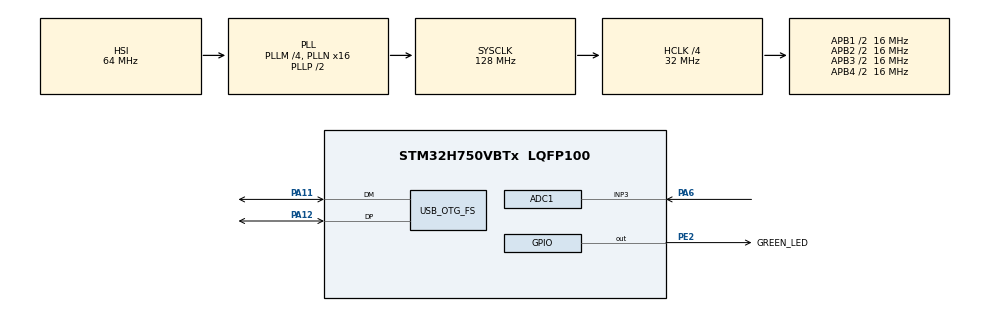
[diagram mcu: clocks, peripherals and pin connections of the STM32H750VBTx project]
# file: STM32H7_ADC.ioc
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ADC1.Channel-0\#ChannelRegularConversion=ADC_CHANNEL_3
ADC1.ClockPrescaler=ADC_CLOCK_ASYNC_DIV2
ADC1.ConversionDataManagement=ADC_CONVERSIONDATA_DMA_CIRCULAR
ADC1.ExternalTrigConv=ADC_EXTERNALTRIG_T8_TRGO
ADC1.ExternalTrigConvEdge=ADC_EXTERNALTRIGCONVEDGE_RISING
ADC1.NbrOfConversion=1
ADC1.NbrOfConversionFlag=1
ADC1.OffsetNumber-0\#ChannelRegularConversion=ADC_OFFSET_NONE
ADC1.OffsetSignedSaturation-0\#ChannelRegularConversion=DISABLE
ADC1.Rank-0\#ChannelRegularConversion=1
ADC1.SamplingTime-0\#ChannelRegularConversion=ADC_SAMPLETIME_1CYCLE_5
ADC1.master=1
Dma.ADC1.0.Direction=DMA_PERIPH_TO_MEMORY
Dma.ADC1.0.EventEnable=DISABLE
Dma.ADC1.0.FIFOMode=DMA_FIFOMODE_DISABLE
Dma.ADC1.0.Instance=DMA1_Stream0
Dma.ADC1.0.MemDataAlignment=DMA_MDATAALIGN_HALFWORD
Dma.ADC1.0.MemInc=DMA_MINC_ENABLE
Dma.ADC1.0.Mode=DMA_CIRCULAR
Dma.ADC1.0.PeriphDataAlignment=DMA_PDATAALIGN_HALFWORD
Dma.ADC1.0.PeriphInc=DMA_PINC_DISABLE
Dma.ADC1.0.Polarity=HAL_DMAMUX_REQ_GEN_RISING
Dma.ADC1.0.Priority=DMA_PRIORITY_LOW
Dma.ADC1.0.RequestNumber=1
Dma.ADC1.0.SignalID=NONE
Dma.ADC1.0.SyncEnable=DISABLE
Dma.ADC1.0.SyncPolarity=HAL_DMAMUX_SYNC_NO_EVENT
Dma.ADC1.0.SyncRequestNumber=1
Dma.ADC1.0.SyncSignalID=NONE
Dma.Request0=ADC1
Mcu.Family=STM32H7
Mcu.Name=STM32H750VBTx
Mcu.Package=LQFP100
NVIC.ADC_IRQn=true\:0\:0\:false\:false\:true\:true\:true\:true
NVIC.DMA1_Stream0_IRQn=true\:0\:0\:false\:false\:true\:false\:true\:true
NVIC.OTG_FS_IRQn=true\:0\:0\:false\:false\:true\:false\:true\:true
NVIC.PriorityGroup=NVIC_PRIORITYGROUP_4
PA11.Mode=Device_Only
PA11.Signal=USB_OTG_FS_DM
PA12.Mode=Device_Only
PA12.Signal=USB_OTG_FS_DP
PA6.Signal=ADCx_INP3
PE2.GPIO_Label=GREEN_LED
PE2.Signal=GPIO_Output
ProjectManager.HeapSize=0x2000
ProjectManager.StackSize=0x4000
ProjectManager.TargetToolchain=Makefile
RCC.ADCFreq_Value=80000000
RCC.APB1Freq_Value=16000000
RCC.APB2Freq_Value=16000000
RCC.APB3Freq_Value=16000000
RCC.APB4Freq_Value=16000000
RCC.CortexFreq_Value=64000000
RCC.D1CPRE=RCC_SYSCLK_DIV2
RCC.D1PPRE=RCC_APB3_DIV2
RCC.D2PPRE1=RCC_APB1_DIV2
RCC.D2PPRE2=RCC_APB2_DIV2
RCC.D3PPRE=RCC_APB4_DIV2
RCC.DIVM1=4
RCC.DIVM2=4
RCC.DIVN1=16
RCC.DIVN2=10
RCC.HCLKFreq_Value=32000000
RCC.HPRE=RCC_HCLK_DIV2
RCC.PLL2FRACN=0
RCC.PLL3FRACN=0
RCC.PLLFRACN=0
RCC.SYSCLKFreq_VALUE=128000000
RCC.SYSCLKSource=RCC_SYSCLKSOURCE_PLLCLK
RCC.USBCLockSelection=RCC_USBCLKSOURCE_HSI48
RCC.USBFreq_Value=48000000
SH.ADCx_INP3.0=ADC1_INP3,IN3-Single-Ended
TIM8.Period=1000-1
TIM8.Prescaler=28000-1
TIM8.TIM_MasterOutputTrigger=TIM_TRGO_UPDATE
USB_DEVICE.CLASS_NAME_FS=CDC
USB_DEVICE.VirtualMode-CDC_FS=Cdc
USB_DEVICE.VirtualModeFS=Cdc_FS
USB_OTG_FS.VirtualMode=Device_Only
VP_MEMORYMAP_VS_MEMORYMAP.Mode=CurAppReg
VP_TIM8_VS_ClockSourceINT.Mode=Internal
VP_USB_DEVICE_VS_USB_DEVICE_CDC_FS.Mode=CDC_FS
board=custom

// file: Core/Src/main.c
/* USER CODE BEGIN Header */
/**
  ******************************************************************************
  * @file           : main.c
  * @brief          : Main program body
  ******************************************************************************
  * @attention
  *
  * Copyright (c) 2024 STMicroelectronics.
  * All rights reserved.
  *
  * This software is licensed under terms that can be found in the LICENSE file
  * in the root directory of this software component.
  * If no LICENSE file comes with this software, it is provided AS-IS.
  *
  ******************************************************************************
  */
/* USER CODE END Header */
#include "main.h"
#include "usb_device.h"

/* USER CODE BEGIN Includes */
#include "usbd_cdc_if.h"
/* USER CODE END Includes */

/* USER CODE BEGIN PD */
#define DMABUFLEN 2048
/* USER CODE END PD */

ADC_HandleTypeDef hadc1;
DMA_HandleTypeDef hdma_adc1;

TIM_HandleTypeDef htim8;

/* USER CODE BEGIN PV */
uint16_t dmaBuffer[DMABUFLEN];
uint8_t dataReady = 0;
uint8_t dataHalfReady = 0;
uint16_t *bufPointer;
/* USER CODE END PV */

void SystemClock_Config(void);
static void MX_GPIO_Init(void);
static void MX_DMA_Init(void);
static void MX_ADC1_Init(void);
static void MX_TIM8_Init(void);

int main(void)
{

  /* MCU Configuration--------------------------------------------------------*/

  /* Reset of all peripherals, Initializes the Flash interface and the Systick. */
  HAL_Init();

  /* Configure the system clock */
  SystemClock_Config();

  /* Initialize all configured peripherals */
  MX_GPIO_Init();
  MX_DMA_Init();
  MX_ADC1_Init();
  MX_USB_DEVICE_Init();
  MX_TIM8_Init();
  /* USER CODE BEGIN 2 */
  HAL_ADCEx_Calibration_Start(&hadc1, ADC_CALIB_OFFSET, ADC_SINGLE_ENDED);
  HAL_ADC_Start_DMA(&hadc1, (uint32_t*)dmaBuffer, DMABUFLEN);
  HAL_TIM_Base_Start(&htim8);

  /* USER CODE END 2 */

  /* Infinite loop */
  /* USER CODE BEGIN WHILE */
  while (1)
  {

    if (dataReady == 1){
      HAL_GPIO_TogglePin(GREEN_LED_GPIO_Port, GREEN_LED_Pin);
      CDC_Transmit_FS((uint8_t*)bufPointer, 2048);
      dataReady = 0;

    }
    /* USER CODE END WHILE */

  }
}

void SystemClock_Config(void)
{
  RCC_OscInitTypeDef RCC_OscInitStruct = {0};
  RCC_ClkInitTypeDef RCC_ClkInitStruct = {0};

  /** Supply configuration update enable
  */
  HAL_PWREx_ConfigSupply(PWR_LDO_SUPPLY);

  /** Configure the main internal regulator output voltage
  */
  __HAL_PWR_VOLTAGESCALING_CONFIG(PWR_REGULATOR_VOLTAGE_SCALE3);

  while(!__HAL_PWR_GET_FLAG(PWR_FLAG_VOSRDY)) {}

  /** Initializes the RCC Oscillators according to the specified parameters
  * in the RCC_OscInitTypeDef structure.
  */
  RCC_OscInitStruct.OscillatorType = RCC_OSCILLATORTYPE_HSI48|RCC_OSCILLATORTYPE_HSI;
  RCC_OscInitStruct.HSIState = RCC_HSI_DIV1;
  RCC_OscInitStruct.HSICalibrationValue = RCC_HSICALIBRATION_DEFAULT;
  RCC_OscInitStruct.HSI48State = RCC_HSI48_ON;
  RCC_OscInitStruct.PLL.PLLState = RCC_PLL_ON;
  RCC_OscInitStruct.PLL.PLLSource = RCC_PLLSOURCE_HSI;
  RCC_OscInitStruct.PLL.PLLM = 4;
  RCC_OscInitStruct.PLL.PLLN = 16;
  RCC_OscInitStruct.PLL.PLLP = 2;
  RCC_OscInitStruct.PLL.PLLQ = 2;
  RCC_OscInitStruct.PLL.PLLR = 2;
  RCC_OscInitStruct.PLL.PLLRGE = RCC_PLL1VCIRANGE_3;
  RCC_OscInitStruct.PLL.PLLVCOSEL = RCC_PLL1VCOWIDE;
  RCC_OscInitStruct.PLL.PLLFRACN = 0;
  if (HAL_RCC_OscConfig(&RCC_OscInitStruct) != HAL_OK)
  {
    Error_Handler();
  }

  /** Initializes the CPU, AHB and APB buses clocks
  */
  RCC_ClkInitStruct.ClockType = RCC_CLOCKTYPE_HCLK|RCC_CLOCKTYPE_SYSCLK
                              |RCC_CLOCKTYPE_PCLK1|RCC_CLOCKTYPE_PCLK2
                              |RCC_CLOCKTYPE_D3PCLK1|RCC_CLOCKTYPE_D1PCLK1;
  RCC_ClkInitStruct.SYSCLKSource = RCC_SYSCLKSOURCE_PLLCLK;
  RCC_ClkInitStruct.SYSCLKDivider = RCC_SYSCLK_DIV2;
  RCC_ClkInitStruct.AHBCLKDivider = RCC_HCLK_DIV2;
  RCC_ClkInitStruct.APB3CLKDivider = RCC_APB3_DIV2;
  RCC_ClkInitStruct.APB1CLKDivider = RCC_APB1_DIV2;
  RCC_ClkInitStruct.APB2CLKDivider = RCC_APB2_DIV2;
  RCC_ClkInitStruct.APB4CLKDivider = RCC_APB4_DIV2;

  if (HAL_RCC_ClockConfig(&RCC_ClkInitStruct, FLASH_LATENCY_0) != HAL_OK)
  {
    Error_Handler();
  }
}

static void MX_ADC1_Init(void)
{

  ADC_MultiModeTypeDef multimode = {0};
  ADC_ChannelConfTypeDef sConfig = {0};

  /** Common config
  */
  hadc1.Instance = ADC1;
  hadc1.Init.ScanConvMode = ADC_SCAN_DISABLE;
  hadc1.Init.EOCSelection = ADC_EOC_SINGLE_CONV;
  hadc1.Init.LowPowerAutoWait = DISABLE;
  hadc1.Init.ContinuousConvMode = DISABLE;
  hadc1.Init.NbrOfConversion = 1;
  hadc1.Init.DiscontinuousConvMode = DISABLE;
  hadc1.Init.ExternalTrigConv = ADC_EXTERNALTRIG_T8_TRGO;
  hadc1.Init.ExternalTrigConvEdge = ADC_EXTERNALTRIGCONVEDGE_RISING;
  hadc1.Init.ConversionDataManagement = ADC_CONVERSIONDATA_DMA_CIRCULAR;
  hadc1.Init.Overrun = ADC_OVR_DATA_PRESERVED;
  hadc1.Init.LeftBitShift = ADC_LEFTBITSHIFT_NONE;
  hadc1.Init.OversamplingMode = DISABLE;
  hadc1.Init.Oversampling.Ratio = 1;
  if (HAL_ADC_Init(&hadc1) != HAL_OK)
  {
    Error_Handler();
  }
  hadc1.Init.ClockPrescaler = ADC_CLOCK_ASYNC_DIV2;
  hadc1.Init.Resolution = ADC_RESOLUTION_16B;
  if (HAL_ADC_Init(&hadc1) != HAL_OK)
  {
    Error_Handler();
  }

  /** Configure the ADC multi-mode
  */
  multimode.Mode = ADC_MODE_INDEPENDENT;
  if (HAL_ADCEx_MultiModeConfigChannel(&hadc1, &multimode) != HAL_OK)
  {
    Error_Handler();
  }

  /** Configure Regular Channel
  */
  sConfig.Channel = ADC_CHANNEL_3;
  sConfig.Rank = ADC_REGULAR_RANK_1;
  sConfig.SamplingTime = ADC_SAMPLETIME_1CYCLE_5;
  sConfig.SingleDiff = ADC_SINGLE_ENDED;
  sConfig.OffsetNumber = ADC_OFFSET_NONE;
  sConfig.Offset = 0;
  sConfig.OffsetSignedSaturation = DISABLE;
  if (HAL_ADC_ConfigChannel(&hadc1, &sConfig) != HAL_OK)
  {
    Error_Handler();
  }

}

static void MX_TIM8_Init(void)
{

  TIM_ClockConfigTypeDef sClockSourceConfig = {0};
  TIM_MasterConfigTypeDef sMasterConfig = {0};

  htim8.Instance = TIM8;
  htim8.Init.Prescaler = 28000-1;
  htim8.Init.CounterMode = TIM_COUNTERMODE_UP;
  htim8.Init.Period = 1000-1;
  htim8.Init.ClockDivision = TIM_CLOCKDIVISION_DIV1;
  htim8.Init.RepetitionCounter = 0;
  htim8.Init.AutoReloadPreload = TIM_AUTORELOAD_PRELOAD_DISABLE;
  if (HAL_TIM_Base_Init(&htim8) != HAL_OK)
  {
    Error_Handler();
  }
  sClockSourceConfig.ClockSource = TIM_CLOCKSOURCE_INTERNAL;
  if (HAL_TIM_ConfigClockSource(&htim8, &sClockSourceConfig) != HAL_OK)
  {
    Error_Handler();
  }
  sMasterConfig.MasterOutputTrigger = TIM_TRGO_UPDATE;
  sMasterConfig.MasterOutputTrigger2 = TIM_TRGO2_RESET;
  sMasterConfig.MasterSlaveMode = TIM_MASTERSLAVEMODE_DISABLE;
  if (HAL_TIMEx_MasterConfigSynchronization(&htim8, &sMasterConfig) != HAL_OK)
  {
    Error_Handler();
  }

}

static void MX_DMA_Init(void)
{

  /* DMA controller clock enable */
  __HAL_RCC_DMA1_CLK_ENABLE();

  /* DMA interrupt init */
  /* DMA1_Stream0_IRQn interrupt configuration */
  HAL_NVIC_SetPriority(DMA1_Stream0_IRQn, 0, 0);
  HAL_NVIC_EnableIRQ(DMA1_Stream0_IRQn);

}

static void MX_GPIO_Init(void)
{
  GPIO_InitTypeDef GPIO_InitStruct = {0};

  /* GPIO Ports Clock Enable */
  __HAL_RCC_GPIOE_CLK_ENABLE();
  __HAL_RCC_GPIOA_CLK_ENABLE();

  /*Configure GPIO pin Output Level */
  HAL_GPIO_WritePin(GREEN_LED_GPIO_Port, GREEN_LED_Pin, GPIO_PIN_RESET);

  /*Configure GPIO pin : GREEN_LED_Pin */
  GPIO_InitStruct.Pin = GREEN_LED_Pin;
  GPIO_InitStruct.Mode = GPIO_MODE_OUTPUT_PP;
  GPIO_InitStruct.Pull = GPIO_NOPULL;
  GPIO_InitStruct.Speed = GPIO_SPEED_FREQ_LOW;
  HAL_GPIO_Init(GREEN_LED_GPIO_Port, &GPIO_InitStruct);

}

/* USER CODE BEGIN 4 */
void HAL_ADC_ConvCpltCallback(ADC_HandleTypeDef* hadc){

  //HAL_GPIO_TogglePin(GREEN_LED_GPIO_Port, GREEN_LED_Pin);
  bufPointer = &dmaBuffer[DMABUFLEN/2];
  dataReady = 1;
  HAL_ADC_Start_DMA(&hadc1, (uint32_t*)dmaBuffer, DMABUFLEN);
}

void HAL_ADC_ConvHalfCpltCallback(ADC_HandleTypeDef* hadc){

  //HAL_GPIO_TogglePin(GREEN_LED_GPIO_Port, GREEN_LED_Pin);
  bufPointer = &dmaBuffer[0];
  dataReady = 1;

}
/* USER CODE END 4 */

void Error_Handler(void)
{
  __disable_irq();
  while (1)
  {
  }
}
